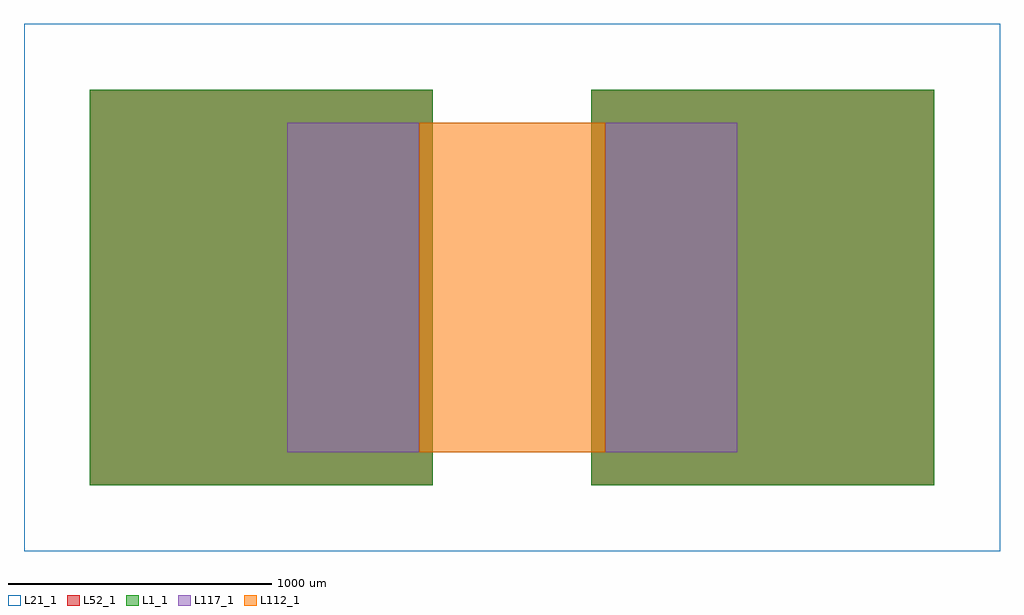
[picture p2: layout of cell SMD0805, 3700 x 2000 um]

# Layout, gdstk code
import gdstk
lib = gdstk.Library(unit=1e-6, precision=1e-09)
def R(c, l, rs):  # rectangles x0, y0, x1, y1
    for r in rs: c.add(gdstk.rectangle(r[:2], r[2:], *l))
L1_1 = (1, 1)
L21_1 = (21, 1)
L52_1 = (52, 1)
L112_1 = (112, 1)
L117_1 = (117, 1)

smd0805 = lib.new_cell('SMD0805')
R(smd0805, L1_1, [(0,0,1300,1500), (1900,0,3200,1500)])
R(smd0805, L21_1, [(-250,-250,3450,1750)])
R(smd0805, L52_1, [(0,0,1300,1500), (1900,0,3200,1500)])
R(smd0805, L112_1, [(1248.3,125,1953.3,1375)])
R(smd0805, L117_1, [(748.3,125,1248.3,1375), (1953.3,125,2453.3,1375)])

lib.write_gds('SMD0805.gds')
